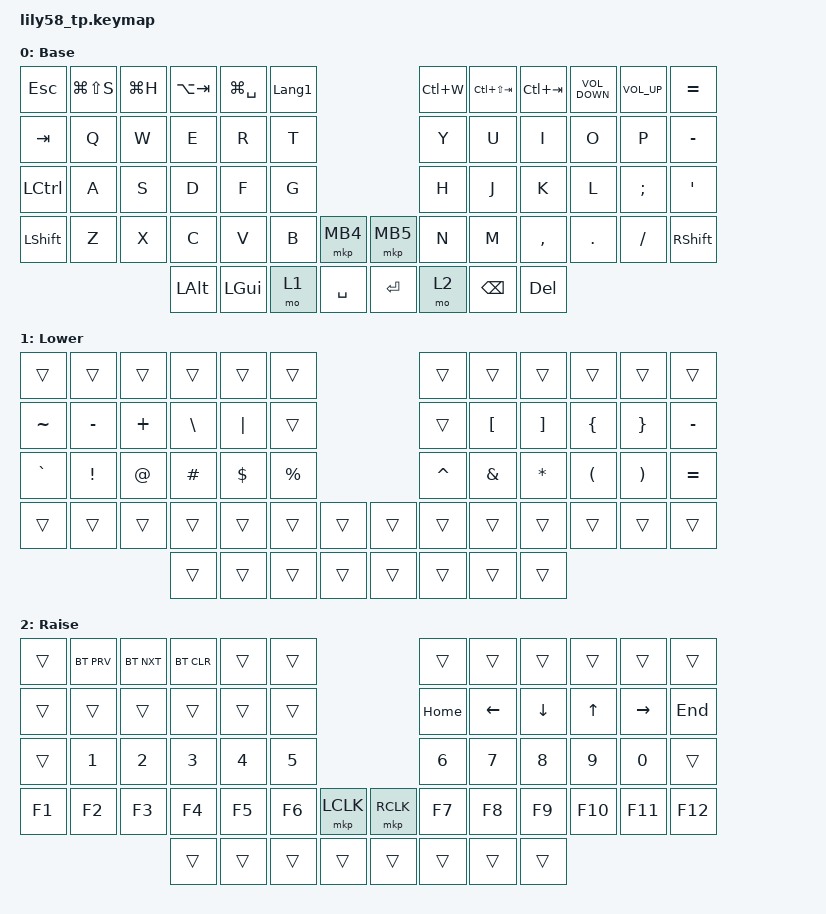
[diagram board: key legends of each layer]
/*
 * Copyright (c) 2020 The ZMK Contributors
 *
 * SPDX-License-Identifier: MIT
 */

#include <behaviors.dtsi>
#include <dt-bindings/zmk/bt.h>
#include <dt-bindings/zmk/keys.h>
#include <dt-bindings/zmk/mouse.h>

#define BASE 0
#define LOWER 1
#define MOUSE_KEYS 2
#define MOUSE_TP 3
#define MOUSE_TP_SET 4


/*
 * Defines to enable/disable features
 *
 * These defines allow us to conditionally enable and disable parts of the keymap config.
 *
 * For example, if we decide to build the firmware without the mouse features, we can
 * disable all the config options that rely on those forks and modules without having
 * to edit the entire keymap file manually every time.
 */

#define HAS_MOUSE_KEYS
#define HAS_MOUSE_TP

#ifdef HAS_MOUSE_KEYS
  #include <dt-bindings/zmk/mouse.h>
  #include <behaviors/mouse_keys.dtsi>
#endif  // HAS_MOUSE_KEYS

#ifdef HAS_MOUSE_TP
  // We store the trackpoint settings in a separate file
  // to make organization a little easier.
  #include "include/mouse_tp.dtsi"
#endif  // HAS_MOUSE_TP



// Adjust layer keys based on enabled features.
//
// This prevents build errors when we build the firmware
// without the mouse keys PR or the TP module.
#ifdef HAS_MOUSE_KEYS
  #define U_THUMB_INNER &mo MOUSE_KEYS
#else
  #define U_THUMB_INNER &none
#endif  // HAS_MOUSE_KEYS

#ifdef HAS_MOUSE_TP
  #define U_TOG_TP_SET &tog MOUSE_TP_SET
#else
  #define U_TOG_TP_SET &none
#endif  // HAS_MOUSE_TP

/ {
    // Keymap configurations
    macros {
        partial_screenshot: partial_screenshot {
            compatible = "zmk,behavior-macro";
            #binding-cells = <0>;
            bindings =
                <&macro_press>,
                <&kp LEFT_GUI &kp LEFT_SHIFT &kp S>,
                <&macro_release>;

            label = "PARTIAL_SCREENSHOT";
        };
    };

    combos {
        compatible = "zmk,combos";

        L_KB_ENTER {
            bindings = <&kp ENTER>;
            key-positions = <24 53>;
        };
    };

    keymap {
        compatible = "zmk,keymap";

        default_layer {
            // ------------------------------------------------------------------------------------------------------------
            // |  ESC  |  1  |  2  |  3   |  4   |  5   |                   |  6   |  7    |  8    |  9   |   0   |   `   |
            // |  TAB  |  Q  |  W  |  E   |  R   |  T   |                   |  Y   |  U    |  I    |  O   |   P   |   -   |
            // |  CTRL |  A  |  S  |  D   |  F   |  G   |                   |  H   |  J    |  K    |  L   |   ;   |   '   |
            // | SHIFT |  Z  |  X  |  C   |  V   |  B   |   "["  |  |  "]"  |  N   |  M    |  ,    |  .   |   /   | SHIFT |
            //                     | ALT  | GUI  | LOWER|  SPACE |  | ENTER | RAISE| BSPC  | GUI   |

            display-name = "Base";
            bindings = <
&kp ESC    &kp LG(LS(S))  &kp LG(H)  &kp LA(TAB)  &kp LG(SPACE)  &kp LANGUAGE_1                         &kp LC(W)  &kp LC(LS(TAB))  &kp LC(TAB)  &kp C_VOLUME_DOWN  &kp C_VOLUME_UP  &kp EQUAL
&kp TAB    &kp Q          &kp W      &kp E        &kp R          &kp T                                  &kp Y      &kp U            &kp I        &kp O              &kp P            &kp MINUS
&kp LCTRL  &kp A          &kp S      &kp D        &kp F          &kp G                                  &kp H      &kp J            &kp K        &kp L              &kp SEMI         &kp SQT
&kp LSHFT  &kp Z          &kp X      &kp C        &kp V          &kp B           &mkp MB4     &mkp MB5  &kp N      &kp M            &kp COMMA    &kp DOT            &kp FSLH         &kp RSHFT
                                     &kp LALT     &kp LGUI       &mo 1           &kp SPACE    &kp RET   &mo 2      &kp BACKSPACE    &kp DELETE
            >;
        };

        lower_layer {
            // ------------------------------------------------------------------------------------------------------------
            // | BTCLR | BT1 | BT2 |  BT3 |  BT4 |  BT5 |                   |      |       |       |      |       |       |
            // |  F1   |  F2 |  F3 |  F4  |  F5  |  F6  |                   |  F7  |  F8   |  F9   |  F10 |  F11  |  F12  |
            // |   `   |  !  |  @  |  #   |  $   |  %   |                   |  ^   |  &    |  *    |  (   |   )   |   ~   |
            // |       |     |     |      |      |      |        |  |       |      |  _    |  +    |  {   |   }   |  "|"  |
            //                     |      |      |      |        |  |       |      |       |       |

            display-name = "Lower";
            bindings = <
&trans     &trans     &trans    &trans         &trans      &trans                         &trans     &trans            &trans             &trans                &trans                 &trans
&kp TILDE  &kp MINUS  &kp PLUS  &kp BACKSLASH  &kp PIPE    &trans                         &trans     &kp LEFT_BRACKET  &kp RIGHT_BRACKET  &kp LEFT_BRACE        &kp RIGHT_BRACE        &kp MINUS
&kp GRAVE  &kp EXCL   &kp AT    &kp HASH       &kp DOLLAR  &kp PERCENT                    &kp CARET  &kp AMPERSAND     &kp ASTERISK       &kp LEFT_PARENTHESIS  &kp RIGHT_PARENTHESIS  &kp EQUAL
&trans     &trans     &trans    &trans         &trans      &trans       &trans    &trans  &trans     &trans            &trans             &trans                &trans                 &trans
                                &trans         &trans      &trans       &trans    &trans  &trans     &trans            &trans
            >;
        };

        raise_layer {
            // ------------------------------------------------------------------------------------------------------------
            // |       |     |     |      |      |      |                   |      |       |       |      |       |       |
            // |   `   |  1  |  2  |  3   |  4   |  5   |                   |  6   |   7   |   8   |  9   |   0   |       |
            // |   F1  |  F2 |  F3 |  F4  |  F5  |  F6  |                   |      |   <-  |   v   |  ^   |  ->   |       |
            // |   F7  |  F8 |  F9 |  F10 |  F11 |  F12 |        |  |       |  +   |   -   |   =   |  [   |   ]   |   \   |
            //                     |      |      |      |        |  |       |      |       |       |

            display-name = "Raise";
            bindings = <
&trans  &bt BT_PRV    &bt BT_NXT    &bt BT_CLR    &trans        &trans                          &trans        &trans    &trans    &trans        &trans     &trans
&trans  &trans        &trans        &trans        &trans        &trans                          &kp HOME      &kp LEFT  &kp DOWN  &kp UP_ARROW  &kp RIGHT  &kp END
&trans  &kp NUMBER_1  &kp NUMBER_2  &kp NUMBER_3  &kp NUMBER_4  &kp N5                          &kp NUMBER_6  &kp N7    &kp N8    &kp N9        &kp N0     &trans
&kp F1  &kp F2        &kp F3        &kp F4        &kp F5        &kp F6  &mkp LCLK    &mkp RCLK  &kp F7        &kp F8    &kp F9    &kp F10       &kp F11    &kp F12
                                    &trans        &trans        &trans  &trans       &trans     &trans        &trans    &trans
            >;
        };
    };
};
